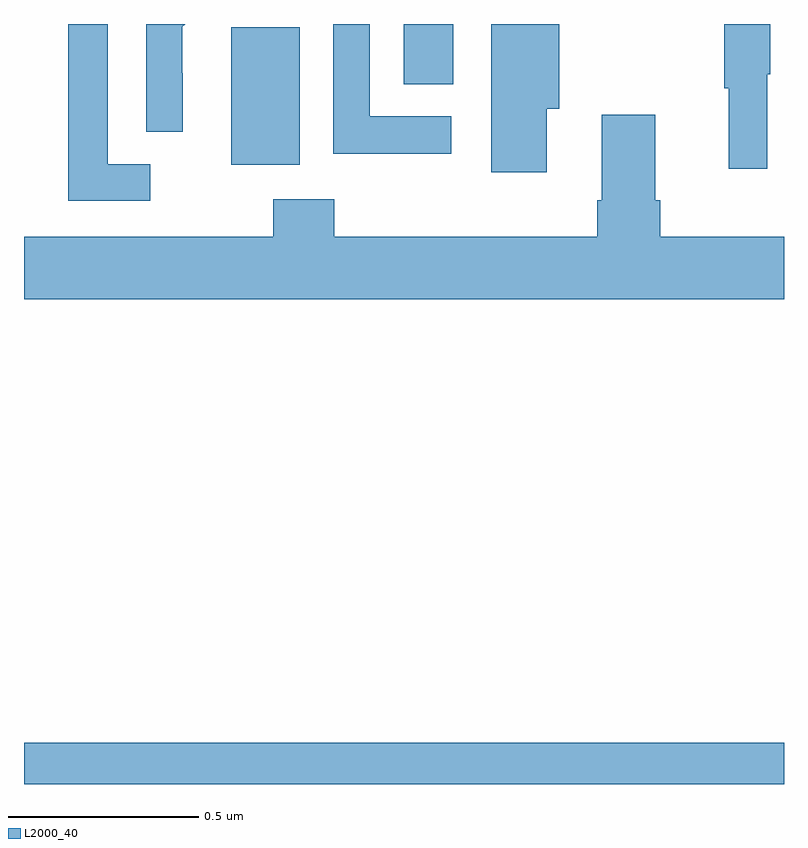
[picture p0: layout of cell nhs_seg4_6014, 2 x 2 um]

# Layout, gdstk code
import gdstk
lib = gdstk.Library(unit=1e-6, precision=1e-09)
def R(c, l, rs):  # rectangles x0, y0, x1, y1
    for r in rs: c.add(gdstk.rectangle(r[:2], r[2:], *l))
def P(c, l, *ps):  # polygons
    for p in ps: c.add(gdstk.Polygon(p, *l))
L2000_40 = (2000, 40)

nhs_seg4_6014 = lib.new_cell('nhs_seg4_6014')
R(nhs_seg4_6014, L2000_40, [(185,772.9,187,773.008), (185.546,774.53,185.725,774.891), (185.999,774.742,186.13,774.9)])
P(nhs_seg4_6014, L2000_40, [(185.332,774.531),(185.221,774.531),(185.221,774.9),(185.117,774.9),(185.117,774.435),(185.332,774.435)],
  [(185.418,774.77),(185.417,774.77),(185.417,774.893),(185.424,774.9),(185.322,774.9),(185.322,774.616),(185.418,774.616)],
  [(186.124,774.657),(185.91,774.657),(185.91,774.9),(185.814,774.9),(185.814,774.559),(186.124,774.559)],
  [(186.376,774.677),(186.409,774.677),(186.409,774.9),(186.23,774.9),(186.23,774.51),(186.376,774.51)],
  [(186.956,774.768),(186.964,774.768),(186.964,774.9),(186.843,774.9),(186.843,774.731),(186.854,774.731),(186.854,774.519),(186.956,774.519)],
  [(187,774.34),(186.674,774.34),(186.674,774.436),(186.661,774.436),(186.661,774.661),(186.521,774.661),(186.521,774.436),(186.509,774.436),(186.509,774.34),(185.816,774.34),(185.816,774.439),(185.656,774.439),(185.656,774.34),(185,774.34),(185,774.176),(187,774.176)])

lib.write_gds('nhs_seg4_6014.gds')
